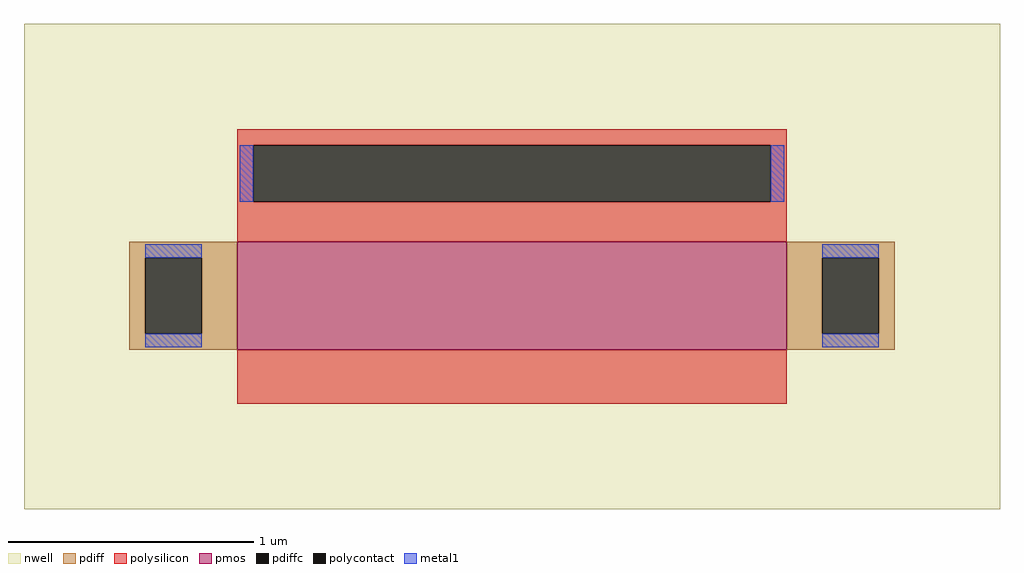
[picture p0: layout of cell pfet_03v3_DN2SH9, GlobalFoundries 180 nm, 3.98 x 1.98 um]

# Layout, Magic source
magic
tech gf180mcuC
magscale 1 10
<< nwell >>
rect -398 -198 398 198
<< pmos >>
rect -224 -68 224 20
<< pdiff >>
rect -312 7 -224 20
rect -312 -55 -299 7
rect -253 -55 -224 7
rect -312 -68 -224 -55
rect 224 7 312 20
rect 224 -55 253 7
rect 299 -55 312 7
rect 224 -68 312 -55
<< pdiffc >>
rect -299 -55 -253 7
rect 253 -55 299 7
<< polysilicon >>
rect -224 99 224 112
rect -224 53 -211 99
rect 211 53 224 99
rect -224 20 224 53
rect -224 -112 224 -68
<< polycontact >>
rect -211 53 211 99
<< metal1 >>
rect -222 53 -211 99
rect 211 53 222 99
rect -299 7 -253 18
rect -299 -66 -253 -55
rect 253 7 299 18
rect 253 -66 299 -55
<< properties >>
string gencell pfet_03v3
string library gf180mcu
string parameters w 0.44 l 2.24 m 1 nf 1 diffcov 100 polycov 100 guard 0 glc 0 grc 0 gtc 0 gbc 0 tbcov 100 rlcov 100 topc 1 botc 0 poverlap 0 doverlap 0 lmin 0.28 wmin 0.22 class mosfet full_metal 0 compatible {pfet_03v3 pfet_05v0 pfet_06v0}
<< end >>
